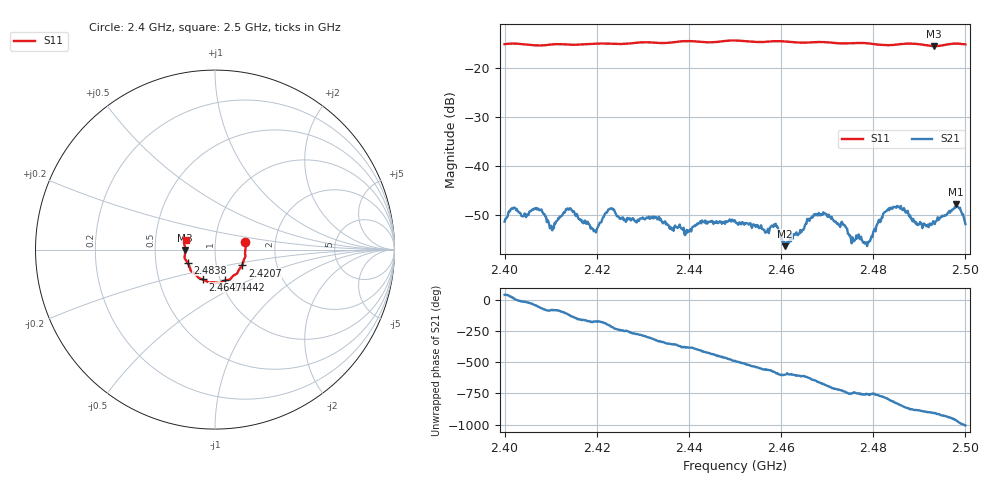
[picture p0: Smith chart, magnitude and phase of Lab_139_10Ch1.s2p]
# Hz S RI R 50
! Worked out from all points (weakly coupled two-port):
!   601 points, 2.4 GHz to 2.5 GHz, reference 50 ohm
!   highest |S21| = -47.80 dB at 2.498 GHz (marker M1); lowest = -56.3 dB at 2.4608 GHz (marker M2)
!   lowest |S11| = -15.6 dB at 2.4932 GHz (marker M3), VSWR 1.40, Z = 35.8 - j0.142 ohm
!   |S11| at or under -10 dB: start of sweep to end of sweep
!   S12 and S22 are empty: the file has one direction only
!   S11 on the Smith chart (normalised r, x): 2.4 GHz: 1.40, +0.11; 2.4207 GHz: 1.33, -0.24; 2.4442 GHz: 1.05, -0.37; 2.4647 GHz: 0.83, -0.29; 2.4838 GHz: 0.73, -0.11; 2.5 GHz: 0.71, +0.08
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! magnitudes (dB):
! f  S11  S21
! 2.4 GHz  -15.2  -51.3
! 2.4018 GHz  -15.1  -48.7
! 2.4077 GHz  -15.5  -49.0
! 2.4102 GHz  -15.3  -52.1
! 2.4138 GHz  -15.3  -48.9
! 2.4167 GHz  -15.3  -51.0
! 2.4207 GHz  -15.1  -51.5
! 2.423 GHz  -15.1  -48.7
! 2.4333 GHz  -15.0  -50.7
! 2.4395 GHz  -14.6  -53.0
! 2.4442 GHz  -14.9  -51.3
! 2.45 GHz  -14.5  -51.1
! 2.4588 GHz  -14.6  -51.7
! 2.4608 GHz  -14.7  -56.3
! 2.4647 GHz  -14.9  -53.0
! 2.4667 GHz  -14.9  -50.3
! 2.4785 GHz  -15.0  -55.5
! 2.4833 GHz  -15.4  -48.6
! 2.4838 GHz  -15.4  -48.5
! 2.4932 GHz  -15.6  -51.3
! 2.498 GHz  -15.1  -47.8
! 2.5 GHz  -15.3  -51.8
